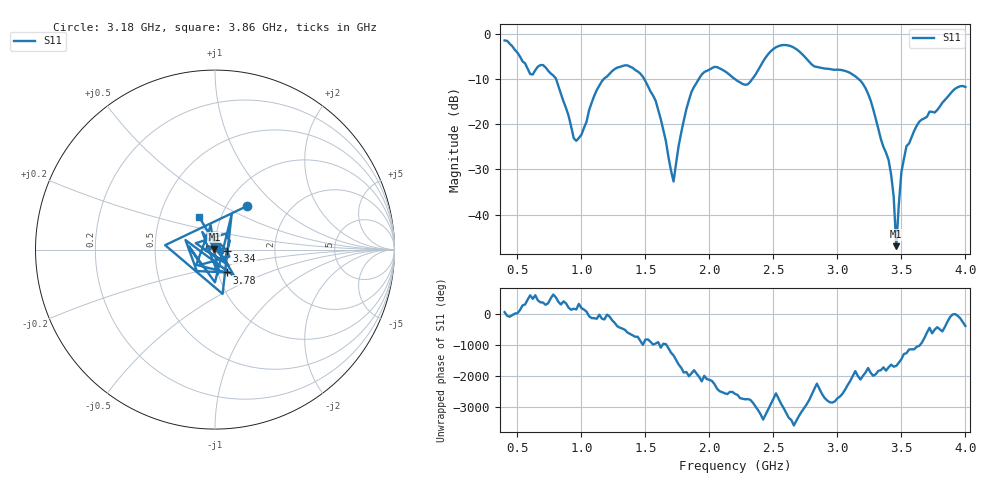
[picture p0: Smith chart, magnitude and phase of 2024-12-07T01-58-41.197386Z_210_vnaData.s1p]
!Created with skrf (http://scikit-rf.org).
# Hz S RI R 50.0
!freq ReS11 ImS11
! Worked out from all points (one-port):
!   181 points, 400 MHz to 4 GHz, reference 50 ohm
!   lowest |S11| = -47.0 dB at 3.46 GHz (marker M1), VSWR 1.01, Z = 49.7 + j0.313 ohm
!   |S11| at or under -10 dB: 802 MHz to 1.175 GHz (372.9 MHz wide, 37.7 % of centre); 1.491 GHz to 1.917 GHz (426.6 MHz wide, 25 % of centre); 3.165 GHz to end of sweep (the widest 3 of 4)
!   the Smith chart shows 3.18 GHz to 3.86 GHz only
!   S11 on the Smith chart (normalised r, x): 3.18 GHz: 1.24, +0.67; 3.34 GHz: 1.15, -0.02; 3.78 GHz: 1.10, -0.29; 3.86 GHz: 0.79, +0.30
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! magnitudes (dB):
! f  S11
! 400 MHz  -1.5
! 600 MHz  -8.9
! 720 MHz  -7.4
! 860 MHz  -15.0
! 960 MHz  -23.7
! 1.16 GHz  -10.5
! 1.3 GHz  -7.3
! 1.46 GHz  -8.8
! 1.58 GHz  -14.8
! 1.72 GHz  -32.7
! 1.76 GHz  -24.7
! 1.86 GHz  -12.9
! 1.94 GHz  -9.0
! 2.2 GHz  -10.0
! 2.3 GHz  -11.2
! 2.5 GHz  -3.3
! 2.66 GHz  -3.1
! 3.1 GHz  -8.7
! 3.18 GHz  -10.4
! 3.34 GHz  -23.3
! 3.42 GHz  -31.2
! 3.44 GHz  -36.1
! 3.46 GHz  -47.0
! 3.5 GHz  -30.6
! 3.56 GHz  -24.3
! 3.78 GHz  -16.9
! 3.86 GHz  -14.0
! 4 GHz  -11.8
